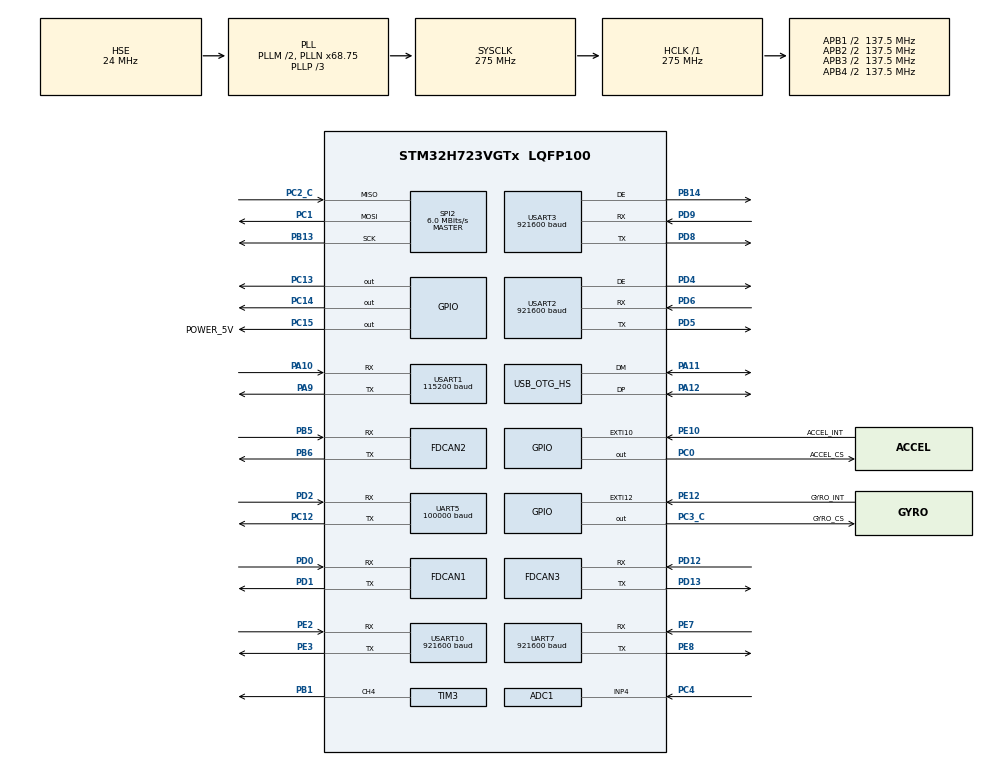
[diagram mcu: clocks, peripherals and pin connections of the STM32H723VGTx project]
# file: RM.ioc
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ADC1.Channel-2\#ChannelRegularConversion=ADC_CHANNEL_4
ADC1.Channel-3\#ChannelRegularConversion=ADC_CHANNEL_4
ADC1.ClockPrescaler=ADC_CLOCK_ASYNC_DIV64
ADC1.ClockPrescalerADC3=ADC_CLOCK_SYNC_PCLK_DIV4
ADC1.ContinuousConvMode=ENABLE
ADC1.ConversionDataManagement=ADC_CONVERSIONDATA_DMA_CIRCULAR
ADC1.NbrOfConversion=2
ADC1.NbrOfConversionFlag=1
ADC1.OffsetNumber-2\#ChannelRegularConversion=ADC_OFFSET_NONE
ADC1.OffsetNumber-3\#ChannelRegularConversion=ADC_OFFSET_NONE
ADC1.OffsetSignedSaturation-2\#ChannelRegularConversion=DISABLE
ADC1.OffsetSignedSaturation-3\#ChannelRegularConversion=DISABLE
ADC1.Rank-2\#ChannelRegularConversion=1
ADC1.Rank-3\#ChannelRegularConversion=2
ADC1.SamplingTime-2\#ChannelRegularConversion=ADC_SAMPLETIME_32CYCLES_5
ADC1.SamplingTime-3\#ChannelRegularConversion=ADC_SAMPLETIME_1CYCLE_5
ADC1.master=1
ADC3.Channel-0\#ChannelRegularConversion=ADC_CHANNEL_TEMPSENSOR
ADC3.ClockPrescalerADC3=ADC_CLOCK_SYNC_PCLK_DIV4
ADC3.DiscontinuousConvMode=ENABLE
ADC3.NbrOfConversionFlag=1
ADC3.OffsetNumber-0\#ChannelRegularConversion=ADC_OFFSET_NONE
ADC3.OffsetSign-0\#ChannelRegularConversion=ADC3_OFFSET_SIGN_NEGATIVE
ADC3.Rank-0\#ChannelRegularConversion=1
ADC3.SamplingTime-0\#ChannelRegularConversion=ADC3_SAMPLETIME_2CYCLES_5
Bdma.ADC3.0.Direction=DMA_PERIPH_TO_MEMORY
Bdma.ADC3.0.EventEnable=DISABLE
Bdma.ADC3.0.Instance=BDMA_Channel0
Bdma.ADC3.0.MemDataAlignment=DMA_MDATAALIGN_HALFWORD
Bdma.ADC3.0.MemInc=DMA_MINC_ENABLE
Bdma.ADC3.0.Mode=DMA_CIRCULAR
Bdma.ADC3.0.PeriphDataAlignment=DMA_PDATAALIGN_HALFWORD
Bdma.ADC3.0.PeriphInc=DMA_PINC_DISABLE
Bdma.ADC3.0.Polarity=HAL_DMAMUX_REQ_GEN_RISING
Bdma.ADC3.0.Priority=DMA_PRIORITY_LOW
Bdma.ADC3.0.RequestNumber=1
Bdma.ADC3.0.SignalID=NONE
Bdma.ADC3.0.SyncEnable=DISABLE
Bdma.ADC3.0.SyncPolarity=HAL_DMAMUX_SYNC_NO_EVENT
Bdma.ADC3.0.SyncRequestNumber=1
Bdma.ADC3.0.SyncSignalID=NONE
Bdma.Request0=ADC3
Bdma.RequestsNb=1
CORTEX_M7.AccessPermission-Cortex_Memory_Protection_Unit_Region0_Settings=MPU_REGION_FULL_ACCESS
CORTEX_M7.AccessPermission_Spec=MPU_REGION_FULL_ACCESS
CORTEX_M7.BaseAddress-Cortex_Memory_Protection_Unit_Region0_Settings=0x24000000
CORTEX_M7.BaseAddress_Spec=0x24000000
CORTEX_M7.CPU_DCache=Enabled
CORTEX_M7.CPU_ICache=Enabled
CORTEX_M7.DisableExec_Spec=MPU_INSTRUCTION_ACCESS_ENABLE
CORTEX_M7.Enable-Cortex_Memory_Protection_Unit_Region0_Settings=MPU_REGION_ENABLE
CORTEX_M7.IsBufferable_Spec=MPU_ACCESS_NOT_BUFFERABLE
CORTEX_M7.IsCacheable_Spec=MPU_ACCESS_NOT_CACHEABLE
CORTEX_M7.IsShareable_Spec=MPU_ACCESS_NOT_SHAREABLE
CORTEX_M7.MPU_Control=MPU_HFNMI_PRIVDEF
CORTEX_M7.Size-Cortex_Memory_Protection_Unit_Region0_Settings=MPU_REGION_SIZE_512KB
CORTEX_M7.Size_Spec=MPU_REGION_SIZE_512KB
CORTEX_M7.SubRegionDisable_Spec=0x0
CORTEX_M7.TypeExtField-Cortex_Memory_Protection_Unit_Region0_Settings=MPU_TEX_LEVEL1
CORTEX_M7.TypeExtField_Spec=MPU_TEX_LEVEL1
CORTEX_M7.default_mode_Activation=1
Dma.ADC1.14.Direction=DMA_PERIPH_TO_MEMORY
Dma.ADC1.14.EventEnable=DISABLE
Dma.ADC1.14.FIFOMode=DMA_FIFOMODE_DISABLE
Dma.ADC1.14.Instance=DMA2_Stream6
Dma.ADC1.14.MemDataAlignment=DMA_MDATAALIGN_HALFWORD
Dma.ADC1.14.MemInc=DMA_MINC_ENABLE
Dma.ADC1.14.Mode=DMA_CIRCULAR
Dma.ADC1.14.PeriphDataAlignment=DMA_PDATAALIGN_HALFWORD
Dma.ADC1.14.PeriphInc=DMA_PINC_DISABLE
Dma.ADC1.14.Polarity=HAL_DMAMUX_REQ_GEN_RISING
Dma.ADC1.14.Priority=DMA_PRIORITY_LOW
Dma.ADC1.14.RequestNumber=1
Dma.ADC1.14.SignalID=NONE
Dma.ADC1.14.SyncEnable=DISABLE
Dma.ADC1.14.SyncPolarity=HAL_DMAMUX_SYNC_NO_EVENT
Dma.ADC1.14.SyncRequestNumber=1
Dma.ADC1.14.SyncSignalID=NONE
Dma.MEMTOMEM.11.Direction=DMA_MEMORY_TO_MEMORY
Dma.MEMTOMEM.11.EventEnable=DISABLE
Dma.MEMTOMEM.11.FIFOMode=DMA_FIFOMODE_ENABLE
Dma.MEMTOMEM.11.FIFOThreshold=DMA_FIFO_THRESHOLD_FULL
Dma.MEMTOMEM.11.Instance=DMA1_Stream0
Dma.MEMTOMEM.11.MemBurst=DMA_MBURST_SINGLE
Dma.MEMTOMEM.11.MemDataAlignment=DMA_MDATAALIGN_BYTE
Dma.MEMTOMEM.11.MemInc=DMA_MINC_ENABLE
Dma.MEMTOMEM.11.Mode=DMA_NORMAL
Dma.MEMTOMEM.11.PeriphBurst=DMA_PBURST_SINGLE
Dma.MEMTOMEM.11.PeriphDataAlignment=DMA_PDATAALIGN_BYTE
Dma.MEMTOMEM.11.PeriphInc=DMA_PINC_ENABLE
Dma.MEMTOMEM.11.Polarity=HAL_DMAMUX_REQ_GEN_RISING
Dma.MEMTOMEM.11.Priority=DMA_PRIORITY_LOW
Dma.MEMTOMEM.11.RequestNumber=1
Dma.MEMTOMEM.11.SignalID=NONE
Dma.MEMTOMEM.11.SyncEnable=DISABLE
Dma.MEMTOMEM.11.SyncPolarity=HAL_DMAMUX_SYNC_NO_EVENT
Dma.MEMTOMEM.11.SyncRequestNumber=1
Dma.MEMTOMEM.11.SyncSignalID=NONE
Dma.Request0=UART5_RX
Dma.Request1=SPI2_RX
Dma.Request10=USART3_TX
Dma.Request11=MEMTOMEM
Dma.Request12=USART10_RX
Dma.Request13=USART10_TX
Dma.Request14=ADC1
Dma.Request2=SPI2_TX
Dma.Request3=UART7_RX
Dma.Request4=UART7_TX
Dma.Request5=USART1_RX
Dma.Request6=USART1_TX
Dma.Request7=USART2_RX
Dma.Request8=USART2_TX
Dma.Request9=USART3_RX
Dma.SPI2_RX.1.Direction=DMA_PERIPH_TO_MEMORY
Dma.SPI2_RX.1.EventEnable=DISABLE
Dma.SPI2_RX.1.FIFOMode=DMA_FIFOMODE_DISABLE
Dma.SPI2_RX.1.Instance=DMA1_Stream1
Dma.SPI2_RX.1.MemDataAlignment=DMA_MDATAALIGN_BYTE
Dma.SPI2_RX.1.MemInc=DMA_MINC_ENABLE
Dma.SPI2_RX.1.Mode=DMA_NORMAL
Dma.SPI2_RX.1.PeriphDataAlignment=DMA_PDATAALIGN_BYTE
Dma.SPI2_RX.1.PeriphInc=DMA_PINC_DISABLE
Dma.SPI2_RX.1.Polarity=HAL_DMAMUX_REQ_GEN_RISING
Dma.SPI2_RX.1.Priority=DMA_PRIORITY_VERY_HIGH
Dma.SPI2_RX.1.RequestNumber=1
Dma.SPI2_RX.1.SignalID=NONE
Dma.SPI2_RX.1.SyncEnable=DISABLE
Dma.SPI2_RX.1.SyncPolarity=HAL_DMAMUX_SYNC_NO_EVENT
Dma.SPI2_RX.1.SyncRequestNumber=1
Dma.SPI2_RX.1.SyncSignalID=NONE
Dma.SPI2_TX.2.Direction=DMA_MEMORY_TO_PERIPH
Dma.SPI2_TX.2.EventEnable=DISABLE
Dma.SPI2_TX.2.FIFOMode=DMA_FIFOMODE_DISABLE
Dma.SPI2_TX.2.Instance=DMA1_Stream2
Dma.SPI2_TX.2.MemDataAlignment=DMA_MDATAALIGN_BYTE
Dma.SPI2_TX.2.MemInc=DMA_MINC_ENABLE
Dma.SPI2_TX.2.Mode=DMA_NORMAL
Dma.SPI2_TX.2.PeriphDataAlignment=DMA_PDATAALIGN_BYTE
Dma.SPI2_TX.2.PeriphInc=DMA_PINC_DISABLE
Dma.SPI2_TX.2.Polarity=HAL_DMAMUX_REQ_GEN_RISING
Dma.SPI2_TX.2.Priority=DMA_PRIORITY_MEDIUM
Dma.SPI2_TX.2.RequestNumber=1
Dma.SPI2_TX.2.SignalID=NONE
Dma.SPI2_TX.2.SyncEnable=DISABLE
Dma.SPI2_TX.2.SyncPolarity=HAL_DMAMUX_SYNC_NO_EVENT
Dma.SPI2_TX.2.SyncRequestNumber=1
Dma.SPI2_TX.2.SyncSignalID=NONE
Dma.UART5_RX.0.Direction=DMA_PERIPH_TO_MEMORY
Dma.UART5_RX.0.EventEnable=DISABLE
Dma.UART5_RX.0.FIFOMode=DMA_FIFOMODE_DISABLE
Dma.UART5_RX.0.Instance=DMA2_Stream3
Dma.UART5_RX.0.MemDataAlignment=DMA_MDATAALIGN_BYTE
Dma.UART5_RX.0.MemInc=DMA_MINC_ENABLE
Dma.UART5_RX.0.Mode=DMA_CIRCULAR
Dma.UART5_RX.0.PeriphDataAlignment=DMA_PDATAALIGN_BYTE
Dma.UART5_RX.0.PeriphInc=DMA_PINC_DISABLE
Dma.UART5_RX.0.Polarity=HAL_DMAMUX_REQ_GEN_RISING
Dma.UART5_RX.0.Priority=DMA_PRIORITY_VERY_HIGH
Dma.UART5_RX.0.RequestNumber=1
Dma.UART5_RX.0.SignalID=NONE
Dma.UART5_RX.0.SyncEnable=DISABLE
Dma.UART5_RX.0.SyncPolarity=HAL_DMAMUX_SYNC_NO_EVENT
Dma.UART5_RX.0.SyncRequestNumber=1
Dma.UART5_RX.0.SyncSignalID=NONE
Dma.UART7_RX.3.Direction=DMA_PERIPH_TO_MEMORY
Dma.UART7_RX.3.EventEnable=DISABLE
Dma.UART7_RX.3.FIFOMode=DMA_FIFOMODE_DISABLE
Dma.UART7_RX.3.Instance=DMA1_Stream3
Dma.UART7_RX.3.MemDataAlignment=DMA_MDATAALIGN_BYTE
Dma.UART7_RX.3.MemInc=DMA_MINC_ENABLE
Dma.UART7_RX.3.Mode=DMA_CIRCULAR
Dma.UART7_RX.3.PeriphDataAlignment=DMA_PDATAALIGN_BYTE
Dma.UART7_RX.3.PeriphInc=DMA_PINC_DISABLE
Dma.UART7_RX.3.Polarity=HAL_DMAMUX_REQ_GEN_RISING
Dma.UART7_RX.3.Priority=DMA_PRIORITY_LOW
Dma.UART7_RX.3.RequestNumber=1
Dma.UART7_RX.3.SignalID=NONE
Dma.UART7_RX.3.SyncEnable=DISABLE
Dma.UART7_RX.3.SyncPolarity=HAL_DMAMUX_SYNC_NO_EVENT
Dma.UART7_RX.3.SyncRequestNumber=1
Dma.UART7_RX.3.SyncSignalID=NONE
Dma.UART7_TX.4.Direction=DMA_MEMORY_TO_PERIPH
Dma.UART7_TX.4.EventEnable=DISABLE
Dma.UART7_TX.4.FIFOMode=DMA_FIFOMODE_DISABLE
Dma.UART7_TX.4.Instance=DMA1_Stream4
Dma.UART7_TX.4.MemDataAlignment=DMA_MDATAALIGN_BYTE
Dma.UART7_TX.4.MemInc=DMA_MINC_ENABLE
Dma.UART7_TX.4.Mode=DMA_NORMAL
Dma.UART7_TX.4.PeriphDataAlignment=DMA_PDATAALIGN_BYTE
Dma.UART7_TX.4.PeriphInc=DMA_PINC_DISABLE
Dma.UART7_TX.4.Polarity=HAL_DMAMUX_REQ_GEN_RISING
Dma.UART7_TX.4.Priority=DMA_PRIORITY_LOW
Dma.UART7_TX.4.RequestNumber=1
Dma.UART7_TX.4.SignalID=NONE
Dma.UART7_TX.4.SyncEnable=DISABLE
Dma.UART7_TX.4.SyncPolarity=HAL_DMAMUX_SYNC_NO_EVENT
Dma.UART7_TX.4.SyncRequestNumber=1
Dma.UART7_TX.4.SyncSignalID=NONE
Dma.USART10_RX.12.Direction=DMA_PERIPH_TO_MEMORY
Dma.USART10_RX.12.EventEnable=DISABLE
Dma.USART10_RX.12.FIFOMode=DMA_FIFOMODE_DISABLE
Dma.USART10_RX.12.Instance=DMA2_Stream4
Dma.USART10_RX.12.MemDataAlignment=DMA_MDATAALIGN_BYTE
Dma.USART10_RX.12.MemInc=DMA_MINC_ENABLE
Dma.USART10_RX.12.Mode=DMA_CIRCULAR
Dma.USART10_RX.12.PeriphDataAlignment=DMA_PDATAALIGN_BYTE
Dma.USART10_RX.12.PeriphInc=DMA_PINC_DISABLE
Dma.USART10_RX.12.Polarity=HAL_DMAMUX_REQ_GEN_RISING
Dma.USART10_RX.12.Priority=DMA_PRIORITY_VERY_HIGH
Dma.USART10_RX.12.RequestNumber=1
Dma.USART10_RX.12.SignalID=NONE
Dma.USART10_RX.12.SyncEnable=DISABLE
Dma.USART10_RX.12.SyncPolarity=HAL_DMAMUX_SYNC_NO_EVENT
Dma.USART10_RX.12.SyncRequestNumber=1
Dma.USART10_RX.12.SyncSignalID=NONE
Dma.USART10_TX.13.Direction=DMA_MEMORY_TO_PERIPH
Dma.USART10_TX.13.EventEnable=DISABLE
Dma.USART10_TX.13.FIFOMode=DMA_FIFOMODE_DISABLE
Dma.USART10_TX.13.Instance=DMA2_Stream5
Dma.USART10_TX.13.MemDataAlignment=DMA_MDATAALIGN_BYTE
Dma.USART10_TX.13.MemInc=DMA_MINC_ENABLE
Dma.USART10_TX.13.Mode=DMA_NORMAL
Dma.USART10_TX.13.PeriphDataAlignment=DMA_PDATAALIGN_BYTE
Dma.USART10_TX.13.PeriphInc=DMA_PINC_DISABLE
Dma.USART10_TX.13.Polarity=HAL_DMAMUX_REQ_GEN_RISING
Dma.USART10_TX.13.Priority=DMA_PRIORITY_VERY_HIGH
Dma.USART10_TX.13.RequestNumber=1
Dma.USART10_TX.13.SignalID=NONE
Dma.USART10_TX.13.SyncEnable=DISABLE
Dma.USART10_TX.13.SyncPolarity=HAL_DMAMUX_SYNC_NO_EVENT
Dma.USART10_TX.13.SyncRequestNumber=1
Dma.USART10_TX.13.SyncSignalID=NONE
Dma.USART1_RX.5.Direction=DMA_PERIPH_TO_MEMORY
Dma.USART1_RX.5.EventEnable=DISABLE
Dma.USART1_RX.5.FIFOMode=DMA_FIFOMODE_DISABLE
Dma.USART1_RX.5.Instance=DMA1_Stream5
Dma.USART1_RX.5.MemDataAlignment=DMA_MDATAALIGN_BYTE
Dma.USART1_RX.5.MemInc=DMA_MINC_ENABLE
Dma.USART1_RX.5.Mode=DMA_NORMAL
Dma.USART1_RX.5.PeriphDataAlignment=DMA_PDATAALIGN_BYTE
Dma.USART1_RX.5.PeriphInc=DMA_PINC_DISABLE
Dma.USART1_RX.5.Polarity=HAL_DMAMUX_REQ_GEN_RISING
Dma.USART1_RX.5.Priority=DMA_PRIORITY_VERY_HIGH
Dma.USART1_RX.5.RequestNumber=1
Dma.USART1_RX.5.SignalID=NONE
Dma.USART1_RX.5.SyncEnable=DISABLE
Dma.USART1_RX.5.SyncPolarity=HAL_DMAMUX_SYNC_NO_EVENT
Dma.USART1_RX.5.SyncRequestNumber=1
Dma.USART1_RX.5.SyncSignalID=NONE
Dma.USART1_TX.6.Direction=DMA_MEMORY_TO_PERIPH
Dma.USART1_TX.6.EventEnable=DISABLE
Dma.USART1_TX.6.FIFOMode=DMA_FIFOMODE_DISABLE
Dma.USART1_TX.6.Instance=DMA1_Stream6
Dma.USART1_TX.6.MemDataAlignment=DMA_MDATAALIGN_BYTE
Dma.USART1_TX.6.MemInc=DMA_MINC_ENABLE
Dma.USART1_TX.6.Mode=DMA_NORMAL
Dma.USART1_TX.6.PeriphDataAlignment=DMA_PDATAALIGN_BYTE
Dma.USART1_TX.6.PeriphInc=DMA_PINC_DISABLE
Dma.USART1_TX.6.Polarity=HAL_DMAMUX_REQ_GEN_RISING
Dma.USART1_TX.6.Priority=DMA_PRIORITY_VERY_HIGH
Dma.USART1_TX.6.RequestNumber=1
Dma.USART1_TX.6.SignalID=NONE
Dma.USART1_TX.6.SyncEnable=DISABLE
Dma.USART1_TX.6.SyncPolarity=HAL_DMAMUX_SYNC_NO_EVENT
Dma.USART1_TX.6.SyncRequestNumber=1
Dma.USART1_TX.6.SyncSignalID=NONE
Dma.USART2_RX.7.Direction=DMA_PERIPH_TO_MEMORY
Dma.USART2_RX.7.EventEnable=DISABLE
Dma.USART2_RX.7.FIFOMode=DMA_FIFOMODE_DISABLE
Dma.USART2_RX.7.Instance=DMA1_Stream7
Dma.USART2_RX.7.MemDataAlignment=DMA_MDATAALIGN_BYTE
Dma.USART2_RX.7.MemInc=DMA_MINC_ENABLE
Dma.USART2_RX.7.Mode=DMA_CIRCULAR
Dma.USART2_RX.7.PeriphDataAlignment=DMA_PDATAALIGN_BYTE
Dma.USART2_RX.7.PeriphInc=DMA_PINC_DISABLE
Dma.USART2_RX.7.Polarity=HAL_DMAMUX_REQ_GEN_RISING
Dma.USART2_RX.7.Priority=DMA_PRIORITY_MEDIUM
Dma.USART2_RX.7.RequestNumber=1
Dma.USART2_RX.7.SignalID=NONE
Dma.USART2_RX.7.SyncEnable=DISABLE
Dma.USART2_RX.7.SyncPolarity=HAL_DMAMUX_SYNC_NO_EVENT
Dma.USART2_RX.7.SyncRequestNumber=1
Dma.USART2_RX.7.SyncSignalID=NONE
Dma.USART2_TX.8.Direction=DMA_MEMORY_TO_PERIPH
Dma.USART2_TX.8.EventEnable=DISABLE
Dma.USART2_TX.8.FIFOMode=DMA_FIFOMODE_DISABLE
Dma.USART2_TX.8.Instance=DMA2_Stream0
Dma.USART2_TX.8.MemDataAlignment=DMA_MDATAALIGN_BYTE
Dma.USART2_TX.8.MemInc=DMA_MINC_ENABLE
Dma.USART2_TX.8.Mode=DMA_NORMAL
Dma.USART2_TX.8.PeriphDataAlignment=DMA_PDATAALIGN_BYTE
Dma.USART2_TX.8.PeriphInc=DMA_PINC_DISABLE
Dma.USART2_TX.8.Polarity=HAL_DMAMUX_REQ_GEN_RISING
Dma.USART2_TX.8.Priority=DMA_PRIORITY_MEDIUM
Dma.USART2_TX.8.RequestNumber=1
Dma.USART2_TX.8.SignalID=NONE
Dma.USART2_TX.8.SyncEnable=DISABLE
Dma.USART2_TX.8.SyncPolarity=HAL_DMAMUX_SYNC_NO_EVENT
Dma.USART2_TX.8.SyncRequestNumber=1
Dma.USART2_TX.8.SyncSignalID=NONE
Dma.USART3_RX.9.Direction=DMA_PERIPH_TO_MEMORY
Dma.USART3_RX.9.EventEnable=DISABLE
Dma.USART3_RX.9.FIFOMode=DMA_FIFOMODE_DISABLE
Dma.USART3_RX.9.Instance=DMA2_Stream1
Dma.USART3_RX.9.MemDataAlignment=DMA_MDATAALIGN_BYTE
Dma.USART3_RX.9.MemInc=DMA_MINC_ENABLE
Dma.USART3_RX.9.Mode=DMA_CIRCULAR
Dma.USART3_RX.9.PeriphDataAlignment=DMA_PDATAALIGN_BYTE
Dma.USART3_RX.9.PeriphInc=DMA_PINC_DISABLE
Dma.USART3_RX.9.Polarity=HAL_DMAMUX_REQ_GEN_RISING
Dma.USART3_RX.9.Priority=DMA_PRIORITY_MEDIUM
Dma.USART3_RX.9.RequestNumber=1
Dma.USART3_RX.9.SignalID=NONE
Dma.USART3_RX.9.SyncEnable=DISABLE
Dma.USART3_RX.9.SyncPolarity=HAL_DMAMUX_SYNC_NO_EVENT
Dma.USART3_RX.9.SyncRequestNumber=1
Dma.USART3_RX.9.SyncSignalID=NONE
Dma.USART3_TX.10.Direction=DMA_MEMORY_TO_PERIPH
Dma.USART3_TX.10.EventEnable=DISABLE
Dma.USART3_TX.10.FIFOMode=DMA_FIFOMODE_DISABLE
Dma.USART3_TX.10.Instance=DMA2_Stream2
Dma.USART3_TX.10.MemDataAlignment=DMA_MDATAALIGN_BYTE
Dma.USART3_TX.10.MemInc=DMA_MINC_ENABLE
Dma.USART3_TX.10.Mode=DMA_NORMAL
Dma.USART3_TX.10.PeriphDataAlignment=DMA_PDATAALIGN_BYTE
Dma.USART3_TX.10.PeriphInc=DMA_PINC_DISABLE
Dma.USART3_TX.10.Polarity=HAL_DMAMUX_REQ_GEN_RISING
Dma.USART3_TX.10.Priority=DMA_PRIORITY_MEDIUM
Dma.USART3_TX.10.RequestNumber=1
Dma.USART3_TX.10.SignalID=NONE
Dma.USART3_TX.10.SyncEnable=DISABLE
Dma.USART3_TX.10.SyncPolarity=HAL_DMAMUX_SYNC_NO_EVENT
Dma.USART3_TX.10.SyncRequestNumber=1
Dma.USART3_TX.10.SyncSignalID=NONE
FDCAN1.AutoRetransmission=DISABLE
FDCAN1.CalculateBaudRateNominal=1000000
FDCAN1.CalculateTimeBitNominal=1000
FDCAN1.CalculateTimeQuantumNominal=62.5
FDCAN1.ClockCalibrationCCU=DISABLE
FDCAN1.DataPrescaler=1
FDCAN1.DataSyncJumpWidth=1
FDCAN1.DataTimeSeg1=19
FDCAN1.DataTimeSeg2=4
FDCAN1.ExtFiltersNbr=0
FDCAN1.FrameFormat=FDCAN_FRAME_CLASSIC
FDCAN1.NominalPrescaler=6
FDCAN1.NominalSyncJumpWidth=1
FDCAN1.NominalTimeSeg1=11
FDCAN1.NominalTimeSeg2=4
FDCAN1.ProtocolException=ENABLE
FDCAN1.RxBufferSize=FDCAN_DATA_BYTES_8
FDCAN1.RxFifo0ElmtSize=FDCAN_DATA_BYTES_8
FDCAN1.RxFifo0ElmtsNbr=8
FDCAN1.RxFifo1ElmtSize=FDCAN_DATA_BYTES_8
FDCAN1.StdFiltersNbr=1
FDCAN1.TransmitPause=DISABLE
FDCAN1.TxElmtSize=FDCAN_DATA_BYTES_8
FDCAN1.TxFifoQueueElmtsNbr=8
FDCAN1.TxFifoQueueMode=FDCAN_TX_FIFO_OPERATION
FDCAN2.CalculateBaudRateNominal=1000000
FDCAN2.CalculateTimeBitNominal=1000
FDCAN2.CalculateTimeQuantumNominal=62.5
FDCAN2.DataPrescaler=1
FDCAN2.DataSyncJumpWidth=1
FDCAN2.DataTimeSeg1=19
FDCAN2.DataTimeSeg2=4
FDCAN2.FrameFormat=FDCAN_FRAME_FD_BRS
FDCAN2.MessageRAMOffset=853
FDCAN2.NominalPrescaler=6
FDCAN2.NominalSyncJumpWidth=1
FDCAN2.NominalTimeSeg1=11
FDCAN2.NominalTimeSeg2=4
FDCAN2.ProtocolException=ENABLE
FDCAN2.RxFifo0ElmtsNbr=0
FDCAN2.RxFifo1ElmtsNbr=8
FDCAN2.StdFiltersNbr=1
FDCAN2.TxFifoQueueElmtsNbr=8
FDCAN3.CalculateBaudRateNominal=1000000
FDCAN3.CalculateTimeBitNominal=1000
FDCAN3.CalculateTimeQuantumNominal=62.5
FDCAN3.DataPrescaler=1
FDCAN3.DataSyncJumpWidth=1
FDCAN3.DataTimeSeg1=19
FDCAN3.DataTimeSeg2=4
FDCAN3.FrameFormat=FDCAN_FRAME_CLASSIC
FDCAN3.MessageRAMOffset=1706
FDCAN3.NominalPrescaler=6
FDCAN3.NominalSyncJumpWidth=1
FDCAN3.NominalTimeSeg1=11
FDCAN3.NominalTimeSeg2=4
FDCAN3.ProtocolException=ENABLE
FDCAN3.RxFifo0ElmtsNbr=8
FDCAN3.StdFiltersNbr=1
FDCAN3.TxFifoQueueElmtsNbr=8
FREERTOS.Tasks01=defaultTask,24,128,StartDefaultTask,Default,NULL,Dynamic,NULL,NULL
FREERTOS.configCHECK_FOR_STACK_OVERFLOW=2
FREERTOS.configENABLE_FPU=1
FREERTOS.configMAX_TASK_NAME_LEN=32
FREERTOS.configTOTAL_HEAP_SIZE=32768
FREERTOS.configUSE_MALLOC_FAILED_HOOK=1
Mcu.Family=STM32H7
Mcu.Name=STM32H723VGTx
Mcu.Package=LQFP100
NVIC.BDMA_Channel0_IRQn=true\:5\:0\:false\:false\:true\:true\:true\:false\:true
NVIC.DMA1_Stream0_IRQn=true\:5\:0\:false\:false\:true\:true\:true\:false\:true
NVIC.DMA1_Stream1_IRQn=true\:5\:0\:false\:false\:true\:true\:true\:false\:true
NVIC.DMA1_Stream2_IRQn=true\:5\:0\:false\:false\:true\:true\:true\:false\:true
NVIC.DMA1_Stream3_IRQn=true\:5\:0\:false\:false\:true\:true\:true\:false\:true
NVIC.DMA1_Stream4_IRQn=true\:5\:0\:false\:false\:true\:true\:true\:false\:true
NVIC.DMA1_Stream5_IRQn=true\:5\:0\:false\:false\:true\:true\:true\:false\:true
NVIC.DMA1_Stream6_IRQn=true\:5\:0\:false\:false\:true\:true\:true\:false\:true
NVIC.DMA1_Stream7_IRQn=true\:5\:0\:false\:false\:true\:true\:true\:false\:true
NVIC.DMA2_Stream0_IRQn=true\:5\:0\:false\:false\:true\:true\:true\:false\:true
NVIC.DMA2_Stream1_IRQn=true\:5\:0\:false\:false\:true\:true\:true\:false\:true
NVIC.DMA2_Stream2_IRQn=true\:5\:0\:false\:false\:true\:true\:true\:false\:true
NVIC.DMA2_Stream3_IRQn=true\:5\:0\:false\:false\:true\:true\:true\:false\:true
NVIC.DMA2_Stream4_IRQn=true\:5\:0\:false\:false\:true\:true\:true\:false\:true
NVIC.DMA2_Stream5_IRQn=true\:5\:0\:false\:false\:true\:true\:true\:false\:true
NVIC.DMA2_Stream6_IRQn=true\:5\:0\:false\:false\:true\:true\:true\:false\:true
NVIC.FDCAN1_IT0_IRQn=true\:5\:0\:false\:false\:true\:true\:true\:true\:true
NVIC.FDCAN1_IT1_IRQn=true\:5\:0\:false\:false\:true\:true\:true\:true\:true
NVIC.FDCAN2_IT0_IRQn=true\:5\:0\:false\:false\:true\:true\:true\:true\:true
NVIC.FDCAN2_IT1_IRQn=true\:5\:0\:false\:false\:true\:true\:true\:true\:true
NVIC.FDCAN3_IT0_IRQn=true\:5\:0\:false\:false\:true\:true\:true\:true\:true
NVIC.FDCAN3_IT1_IRQn=true\:5\:0\:false\:false\:true\:true\:true\:true\:true
NVIC.OTG_HS_IRQn=true\:5\:0\:false\:false\:true\:true\:true\:true\:true
NVIC.PriorityGroup=NVIC_PRIORITYGROUP_4
NVIC.SPI2_IRQn=true\:5\:0\:true\:false\:true\:true\:true\:false\:true
NVIC.TIM2_IRQn=true\:15\:0\:false\:false\:true\:false\:false\:false\:true
NVIC.TimeBase=TIM2_IRQn
NVIC.TimeBaseIP=TIM2
NVIC.UART5_IRQn=true\:5\:0\:false\:false\:true\:true\:true\:true\:true
NVIC.UART7_IRQn=true\:5\:0\:false\:false\:true\:true\:true\:true\:true
NVIC.USART10_IRQn=true\:5\:0\:false\:false\:true\:true\:true\:true\:true
NVIC.USART1_IRQn=true\:5\:0\:false\:false\:true\:true\:true\:true\:true
NVIC.USART2_IRQn=true\:5\:0\:false\:false\:true\:true\:true\:true\:true
NVIC.USART3_IRQn=true\:5\:0\:false\:false\:true\:true\:true\:true\:true
PA10.Mode=Asynchronous
PA10.Signal=USART1_RX
PA11.Mode=Device_Only_FS
PA11.Signal=USB_OTG_HS_DM
PA12.Mode=Device_Only_FS
PA12.Signal=USB_OTG_HS_DP
PA13(JTMS/SWDIO).Mode=Serial_Wire
PA13(JTMS/SWDIO).Signal=DEBUG_JTMS-SWDIO
PA14(JTCK/SWCLK).Mode=Serial_Wire
PA14(JTCK/SWCLK).Signal=DEBUG_JTCK-SWCLK
PA9.Mode=Asynchronous
PA9.Signal=USART1_TX
PB1.Signal=S_TIM3_CH4
PB13.GPIO_Speed=GPIO_SPEED_FREQ_VERY_HIGH
PB13.Mode=Full_Duplex_Master
PB13.Signal=SPI2_SCK
PB14.Mode=Hardware Flow Control (RS485)
PB14.Signal=USART3_DE
PB5.Mode=FDCAN_Activate
PB5.Signal=FDCAN2_RX
PB6.GPIO_FM6=__NULL
PB6.Mode=FDCAN_Activate
PB6.Signal=FDCAN2_TX
PC0.GPIO_Label=ACCEL_CS
PC0.GPIO_PuPd=GPIO_NOPULL
PC0.GPIO_Speed=GPIO_SPEED_FREQ_MEDIUM
PC0.PinState=GPIO_PIN_SET
PC0.Signal=GPIO_Output
PC1.GPIO_Speed=GPIO_SPEED_FREQ_VERY_HIGH
PC1.Mode=Full_Duplex_Master
PC1.Signal=SPI2_MOSI
PC12.Mode=Asynchronous
PC12.Signal=UART5_TX
PC13.PinState=GPIO_PIN_RESET
PC13.Signal=GPIO_Output
PC14-OSC32_IN.Signal=GPIO_Output
PC15-OSC32_OUT.GPIO_Label=POWER_5V
PC15-OSC32_OUT.PinState=GPIO_PIN_SET
PC15-OSC32_OUT.Signal=GPIO_Output
PC2_C.GPIO_Speed=GPIO_SPEED_FREQ_VERY_HIGH
PC2_C.Mode=Full_Duplex_Master
PC2_C.Signal=SPI2_MISO
PC3_C.GPIO_Label=GYRO_CS
PC3_C.GPIO_PuPd=GPIO_NOPULL
PC3_C.GPIO_Speed=GPIO_SPEED_FREQ_MEDIUM
PC3_C.PinState=GPIO_PIN_SET
PC3_C.Signal=GPIO_Output
PC4.Signal=ADCx_INP4
PD0.Mode=FDCAN_Activate
PD0.Signal=FDCAN1_RX
PD1.Mode=FDCAN_Activate
PD1.Signal=FDCAN1_TX
PD12.Mode=FDCAN_Activate
PD12.Signal=FDCAN3_RX
PD13.Mode=FDCAN_Activate
PD13.Signal=FDCAN3_TX
PD2.GPIO_Speed=GPIO_SPEED_FREQ_VERY_HIGH
PD2.Mode=Asynchronous
PD2.Signal=UART5_RX
PD4.Mode=Hardware Flow Control (RS485)
PD4.Signal=USART2_DE
PD5.Mode=Asynchronous
PD5.Signal=USART2_TX
PD6.Mode=Asynchronous
PD6.Signal=USART2_RX
PD8.Mode=Asynchronous
PD8.Signal=USART3_TX
PD9.Mode=Asynchronous
PD9.Signal=USART3_RX
PE10.GPIO_Label=ACCEL_INT
PE10.GPIO_PuPd=GPIO_NOPULL
PE10.Signal=GPXTI10
PE12.GPIO_Label=GYRO_INT
PE12.GPIO_PuPd=GPIO_NOPULL
PE12.Signal=GPXTI12
PE2.Mode=Asynchronous
PE2.Signal=USART10_RX
PE3.Mode=Asynchronous
PE3.Signal=USART10_TX
PE7.Mode=Asynchronous
PE7.Signal=UART7_RX
PE8.Mode=Asynchronous
PE8.Signal=UART7_TX
PH0-OSC_IN.Mode=HSE-External-Oscillator
PH0-OSC_IN.Signal=RCC_OSC_IN
PH1-OSC_OUT.Mode=HSE-External-Oscillator
PH1-OSC_OUT.Signal=RCC_OSC_OUT
ProjectManager.HeapSize=0x2000
ProjectManager.StackSize=0x4000
ProjectManager.TargetToolchain=CMake
RCC.ADCCLockSelection=RCC_ADCCLKSOURCE_CLKP
RCC.ADCFreq_Value=64000000
RCC.APB1Freq_Value=137500000
RCC.APB2Freq_Value=137500000
RCC.APB3Freq_Value=137500000
RCC.APB4Freq_Value=137500000
RCC.CortexFreq_Value=275000000
RCC.D1PPRE=RCC_APB3_DIV2
RCC.D2PPRE1=RCC_APB1_DIV2
RCC.D2PPRE2=RCC_APB2_DIV2
RCC.D3PPRE=RCC_APB4_DIV2
RCC.DIVM1=2
RCC.DIVM2=2
RCC.DIVM3=2
RCC.DIVN1=68
RCC.DIVN2=16
RCC.DIVN3=16
RCC.DIVP1=3
RCC.DIVP3=1
RCC.DIVQ1=4
RCC.EnbaleCSS=false
RCC.FDCANCLockSelection=RCC_FDCANCLKSOURCE_PLL2
RCC.FLatency-AdvancedSettings=FLASH_LATENCY_3
RCC.HCLKFreq_Value=275000000
RCC.HSE_VALUE=24000000
RCC.PLL1_VCI_Range-AdvancedSettings=RCC_PLL1VCIRANGE_0
RCC.PLL1_VCO_SEL-AdvancedSettings=RCC_PLL1VCOMEDIUM
RCC.PLL2FRACN=0
RCC.PLL2_VCO_SEL-AdvancedSettings=RCC_PLL2VCOWIDE
RCC.PLL3FRACN=0
RCC.PLL3_VCO_SEL-AdvancedSettings=RCC_PLL3VCOWIDE
RCC.PLLFRACN=6144
RCC.PLLSourceVirtual=RCC_PLLSOURCE_HSE
RCC.SPI123CLockSelection=RCC_SPI123CLKSOURCE_PLL3
RCC.SYSCLKFreq_VALUE=275000000
RCC.SYSCLKSource=RCC_SYSCLKSOURCE_PLLCLK
RCC.USART16CLockSelection=RCC_USART16910CLKSOURCE_PLL2
RCC.USBCLockSelection=RCC_USBCLKSOURCE_HSI48
RCC.USBFreq_Value=48000000
SH.ADCx_INP4.0=ADC1_INP4,IN4-Single-Ended
SH.S_TIM3_CH4.0=TIM3_CH4,PWM Generation4 CH4
SPI2.BaudRatePrescaler=SPI_BAUDRATEPRESCALER_32
SPI2.CLKPhase=SPI_PHASE_2EDGE
SPI2.CLKPolarity=SPI_POLARITY_HIGH
SPI2.CalculateBaudRate=6.0 MBits/s
SPI2.DataSize=SPI_DATASIZE_8BIT
SPI2.Direction=SPI_DIRECTION_2LINES
SPI2.Mode=SPI_MODE_MASTER
SPI2.NSSPMode=SPI_NSS_PULSE_DISABLE
SPI2.VirtualType=VM_MASTER
STMicroelectronics.X-CUBE-ALGOBUILD.1.4.0.LibraryCcDSPOoLibraryJjDSPOoLibrary=true
TIM3.AutoReloadPreload=TIM_AUTORELOAD_PRELOAD_ENABLE
TIM3.Channel-PWM\ Generation4\ CH4=TIM_CHANNEL_4
TIM3.Period=20000
TIM3.Prescaler=80-1
UART5.BaudRate=100000
UART5.Parity=PARITY_EVEN
UART5.StopBits=UART_STOPBITS_1
UART5.WordLength=WORDLENGTH_9B
UART7.BaudRate=921600
USART1.BaudRate=115200
USART1.VirtualMode-Asynchronous=VM_ASYNC
USART10.BaudRate=921600
USART10.VirtualMode=VM_ASYNC
USART2.BaudRate=921600
USART2.OverSampling=UART_OVERSAMPLING_8
USART2.VirtualMode-Asynchronous=VM_ASYNC
USART2.VirtualMode-Hardware\ Flow\ Control\ (RS485)=VM_ASYNC
USART3.BaudRate=921600
USART3.OverSampling=UART_OVERSAMPLING_8
USART3.VirtualMode-Asynchronous=VM_ASYNC
USART3.VirtualMode-Hardware\ Flow\ Control\ (RS485)=VM_ASYNC
USB_DEVICE.CLASS_NAME_HS=CDC
USB_DEVICE.VirtualMode=Cdc
USB_DEVICE.VirtualModeHS=Cdc_HS
USB_OTG_HS.VirtualMode-Device_Only_FS=Device_Only_FS
VP_ADC3_TempSens_Input.Mode=IN-TempSens
VP_ADC3_Vbat_Input.Mode=IN-Vbat
VP_ADC3_Vref_Input.Mode=IN-Vrefint
VP_FREERTOS_VS_CMSIS_V2.Mode=CMSIS_V2
VP_MEMORYMAP_VS_MEMORYMAP.Mode=CurAppReg
VP_STMicroelectronics.X-CUBE-ALGOBUILD_VS_DSPOoLibraryJjLibrary_1.4.0_1.4.0.Mode=DSPOoLibraryJjLibrary
VP_SYS_VS_tim2.Mode=TIM2
VP_USB_DEVICE_VS_USB_DEVICE_CDC_HS.Mode=CDC_HS
board=custom

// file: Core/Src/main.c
/* USER CODE BEGIN Header */
/**
  ******************************************************************************
  * @file           : main.c
  * @brief          : Main program body
  ******************************************************************************
  * @attention
  *
  * Copyright (c) 2026 STMicroelectronics.
  * All rights reserved.
  *
  * This software is licensed under terms that can be found in the LICENSE file
  * in the root directory of this software component.
  * If no LICENSE file comes with this software, it is provided AS-IS.
  *
  ******************************************************************************
  */
/* USER CODE END Header */
#include "main.h"
#include "FreeRTOS.h"
#include "cmsis_os2.h"
#include "adc.h"
#include "bdma.h"
#include "dma.h"
#include "fdcan.h"
#include "spi.h"
#include "tim.h"
#include "usart.h"
#include "usb_device.h"
#include "gpio.h"

/* USER CODE BEGIN Includes */
#include "cmsis_os2.h"
#include "robot.h"
#include "bsp_log.h"
#include "bsp_board.h"
#include "bsp_dwt.h"
#include "bsp_fault.h"
#if USE_MINIMAL_TEST
#include "minimal_test.h"
#endif
/* USER CODE END Includes */

void SystemClock_Config(void);
void PeriphCommonClock_Config(void);
static void MPU_Config(void);
void MX_FREERTOS_Init(void);

int main(void)
{

  /* MPU Configuration--------------------------------------------------------*/
  MPU_Config();

  /* Enable the CPU Cache */

  /* Enable I-Cache---------------------------------------------------------*/
  SCB_EnableICache();

  /* Enable D-Cache---------------------------------------------------------*/
  SCB_EnableDCache();

  /* MCU Configuration--------------------------------------------------------*/

  /* Reset of all peripherals, Initializes the Flash interface and the Systick. */
  HAL_Init();

  /* Configure the system clock */
  SystemClock_Config();

  /* Configure the peripherals common clocks */
  PeriphCommonClock_Config();

  /* USER CODE BEGIN SysInit */
  /* DWT 越早初始化越好: 从这里开始, 后面所有"不能依赖 HAL_GetTick 的延时"
   * (USB 的虚拟拔插、bsp 自检、故障转储里的等待) 才有可靠的计时源。
   * 注意 DWT 是 CPU 周期计数器, 关中断也照常计数, 因此在 __disable_irq()
   * 区域内也是安全的 —— 这正是本工程全部延时的统一时间源。 */
  DWT_Init((uint32_t)(SystemCoreClock / 1000000U));
  /* USER CODE END SysInit */

  /* Initialize all configured peripherals */
  MX_GPIO_Init();
  MX_DMA_Init();
  MX_BDMA_Init();
  MX_FDCAN1_Init();
  MX_FDCAN2_Init();
  MX_UART5_Init();
  MX_SPI2_Init();
  MX_TIM3_Init();
  MX_UART7_Init();
  MX_USART1_UART_Init();
  MX_USART2_UART_Init();
  MX_USART3_UART_Init();
  MX_USART10_UART_Init();
  MX_FDCAN3_Init();
  MX_ADC3_Init();
  MX_ADC1_Init();
  /* USER CODE BEGIN 2 */

#if USE_MINIMAL_TEST
  /* 最小自检固件: 只测 5V / 蜂鸣器 / 彩灯, 不启动 RTOS */
  MinimalTestInit();
#else
  /* CMSIS-RTOS v2: 必须先 osKernelInitialize(), 之后才能 osThreadNew 创建任务 */
  osKernelInitialize();
  /* 应用层初始化: bsp -> module(app 注册) -> 创建 rtos 任务
   * 注意: 此时还没有启动调度器, 任务不会运行 */
  RobotInit();
  LOGINFO("[main] SystemInit() and RobotInit() done");
#endif /* USE_MINIMAL_TEST */

  /* 注意: 这一句必须在 USER CODE 区内。
   * 本工程的 FreeRTOS 是手工接入的(.ioc 里 FREERTOS 是 Disable),
   * 如果放在生成区, 一旦用 CubeMX 重新生成代码它会被静默删掉,
   * 结果是调度器不启动 -> 任务一个都不跑, 但没有任何报错。 */
#if !USE_MINIMAL_TEST
  osKernelStart();
#endif /* !USE_MINIMAL_TEST */
  /* USER CODE END 2 */

  /* CubeMX 会在生成区插入 osKernelInitialize()/MX_FREERTOS_Init()/osKernelStart(),
   * 但本工程的调度器已在 USER CODE 2 里按正确顺序启动过(任务由 RobotInit() 创建),
   * 这里保持为空, 避免重复初始化。 */

  /* We should never get here as control is now taken by the scheduler */

  /* Infinite loop */
  /* USER CODE BEGIN WHILE */
  while (1)
  {
#if USE_MINIMAL_TEST
    MinimalTestLoop(); /* 最小自检: 灯循环换色 + 蜂鸣器定时响 */
#endif /* USE_MINIMAL_TEST */
    /* USER CODE END WHILE */

  }
}

void SystemClock_Config(void)
{
  RCC_OscInitTypeDef RCC_OscInitStruct = {0};
  RCC_ClkInitTypeDef RCC_ClkInitStruct = {0};

  /** Supply configuration update enable
  */
  HAL_PWREx_ConfigSupply(PWR_LDO_SUPPLY);

  /** Configure the main internal regulator output voltage
  */
  __HAL_PWR_VOLTAGESCALING_CONFIG(PWR_REGULATOR_VOLTAGE_SCALE0);

  while(!__HAL_PWR_GET_FLAG(PWR_FLAG_VOSRDY)) {}

  /** Initializes the RCC Oscillators according to the specified parameters
  * in the RCC_OscInitTypeDef structure.
  */
  RCC_OscInitStruct.OscillatorType = RCC_OSCILLATORTYPE_HSI48|RCC_OSCILLATORTYPE_HSI
                              |RCC_OSCILLATORTYPE_HSE;
  RCC_OscInitStruct.HSEState = RCC_HSE_ON;
  RCC_OscInitStruct.HSIState = RCC_HSI_DIV1;
  RCC_OscInitStruct.HSICalibrationValue = 64;
  RCC_OscInitStruct.HSI48State = RCC_HSI48_ON;
  RCC_OscInitStruct.PLL.PLLState = RCC_PLL_ON;
  RCC_OscInitStruct.PLL.PLLSource = RCC_PLLSOURCE_HSE;
  RCC_OscInitStruct.PLL.PLLM = 2;
  RCC_OscInitStruct.PLL.PLLN = 68;
  RCC_OscInitStruct.PLL.PLLP = 3;
  RCC_OscInitStruct.PLL.PLLQ = 4;
  RCC_OscInitStruct.PLL.PLLR = 2;
  RCC_OscInitStruct.PLL.PLLRGE = RCC_PLL1VCIRANGE_3;
  RCC_OscInitStruct.PLL.PLLVCOSEL = RCC_PLL1VCOWIDE;
  RCC_OscInitStruct.PLL.PLLFRACN = 6144;
  if (HAL_RCC_OscConfig(&RCC_OscInitStruct) != HAL_OK)
  {
    Error_Handler();
  }

  /** Initializes the CPU, AHB and APB buses clocks
  */
  RCC_ClkInitStruct.ClockType = RCC_CLOCKTYPE_HCLK|RCC_CLOCKTYPE_SYSCLK
                              |RCC_CLOCKTYPE_PCLK1|RCC_CLOCKTYPE_PCLK2
                              |RCC_CLOCKTYPE_D3PCLK1|RCC_CLOCKTYPE_D1PCLK1;
  RCC_ClkInitStruct.SYSCLKSource = RCC_SYSCLKSOURCE_PLLCLK;
  RCC_ClkInitStruct.SYSCLKDivider = RCC_SYSCLK_DIV1;
  RCC_ClkInitStruct.AHBCLKDivider = RCC_HCLK_DIV1;
  RCC_ClkInitStruct.APB3CLKDivider = RCC_APB3_DIV2;
  RCC_ClkInitStruct.APB1CLKDivider = RCC_APB1_DIV2;
  RCC_ClkInitStruct.APB2CLKDivider = RCC_APB2_DIV2;
  RCC_ClkInitStruct.APB4CLKDivider = RCC_APB4_DIV2;

  if (HAL_RCC_ClockConfig(&RCC_ClkInitStruct, FLASH_LATENCY_3) != HAL_OK)
  {
    Error_Handler();
  }
}

void PeriphCommonClock_Config(void)
{
  RCC_PeriphCLKInitTypeDef PeriphClkInitStruct = {0};

  /** Initializes the peripherals clock
  */
  PeriphClkInitStruct.PeriphClockSelection = RCC_PERIPHCLK_FDCAN|RCC_PERIPHCLK_USART1
                              |RCC_PERIPHCLK_USART10|RCC_PERIPHCLK_CKPER;
  PeriphClkInitStruct.PLL2.PLL2M = 2;
  PeriphClkInitStruct.PLL2.PLL2N = 16;
  PeriphClkInitStruct.PLL2.PLL2P = 2;
  PeriphClkInitStruct.PLL2.PLL2Q = 2;
  PeriphClkInitStruct.PLL2.PLL2R = 2;
  PeriphClkInitStruct.PLL2.PLL2RGE = RCC_PLL2VCIRANGE_3;
  PeriphClkInitStruct.PLL2.PLL2VCOSEL = RCC_PLL2VCOWIDE;
  PeriphClkInitStruct.PLL2.PLL2FRACN = 0;
  PeriphClkInitStruct.CkperClockSelection = RCC_CLKPSOURCE_HSI;
  PeriphClkInitStruct.FdcanClockSelection = RCC_FDCANCLKSOURCE_PLL2;
  PeriphClkInitStruct.Usart16ClockSelection = RCC_USART16910CLKSOURCE_PLL2;
  if (HAL_RCCEx_PeriphCLKConfig(&PeriphClkInitStruct) != HAL_OK)
  {
    Error_Handler();
  }
}

 /* MPU Configuration */

void MPU_Config(void)
{
  MPU_Region_InitTypeDef MPU_InitStruct = {0};

  /* Disables the MPU */
  HAL_MPU_Disable();

  /** Initializes and configures the Region and the memory to be protected
  */
  MPU_InitStruct.Enable = MPU_REGION_ENABLE;
  MPU_InitStruct.Number = MPU_REGION_NUMBER0;
  MPU_InitStruct.BaseAddress = 0x24000000;
  MPU_InitStruct.Size = MPU_REGION_SIZE_512KB;
  MPU_InitStruct.SubRegionDisable = 0x0;
  MPU_InitStruct.TypeExtField = MPU_TEX_LEVEL1;
  MPU_InitStruct.AccessPermission = MPU_REGION_FULL_ACCESS;
  MPU_InitStruct.DisableExec = MPU_INSTRUCTION_ACCESS_ENABLE;
  MPU_InitStruct.IsShareable = MPU_ACCESS_NOT_SHAREABLE;
  MPU_InitStruct.IsCacheable = MPU_ACCESS_NOT_CACHEABLE;
  MPU_InitStruct.IsBufferable = MPU_ACCESS_NOT_BUFFERABLE;

  HAL_MPU_ConfigRegion(&MPU_InitStruct);
  /* Enables the MPU */
  HAL_MPU_Enable(MPU_HFNMI_PRIVDEF);

}

void HAL_TIM_PeriodElapsedCallback(TIM_HandleTypeDef *htim)
{
  if (htim->Instance == TIM2)
  {
    HAL_IncTick();
  }
}

void Error_Handler(void)
{
  /* USER CODE BEGIN Error_Handler_Debug */
  /* 不再静默死循环: 把"哪一步初始化失败"打到串口上, 然后停机 */
  BSPFaultReport("Error_Handler", "HAL init failed (clock/peripheral), see boot log above");
  /* USER CODE END Error_Handler_Debug */
}

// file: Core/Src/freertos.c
/* USER CODE BEGIN Header */
/**
  ******************************************************************************
  * File Name          : freertos.c
  * Description        : Code for freertos applications
  ******************************************************************************
  * @attention
  *
  * Copyright (c) 2026 STMicroelectronics.
  * All rights reserved.
  *
  * This software is licensed under terms that can be found in the LICENSE file
  * in the root directory of this software component.
  * If no LICENSE file comes with this software, it is provided AS-IS.
  *
  ******************************************************************************
  */
/* USER CODE END Header */

#include "FreeRTOS.h"

extern void BSPFaultReport(const char *tag, const char *detail);
#include "task.h"
#include "main.h"
#include "FreeRTOS.h"
#include "cmsis_os2.h"

/* Definitions for defaultTask */
osThreadId_t defaultTaskHandle;
const osThreadAttr_t defaultTask_attributes = {
  .name = "defaultTask",
  .stack_size = 128 * 4,
  .priority = (osPriority_t) osPriorityNormal,
};

void StartDefaultTask(void *argument);

extern void MX_USB_DEVICE_Init(void);
void MX_FREERTOS_Init(void); /* (MISRA C 2004 rule 8.1) */

/* Hook prototypes */
void vApplicationStackOverflowHook(xTaskHandle xTask, char *pcTaskName);
void vApplicationMallocFailedHook(void);

/* USER CODE BEGIN 4 */
void vApplicationStackOverflowHook(xTaskHandle xTask, char *pcTaskName)
{
   (void)xTask;
   /* 栈溢出时先打印是哪个任务, 再停机, 便于定位 */
   BSPFaultReport("FreeRTOS stack overflow",
                  (pcTaskName != NULL) ? pcTaskName : "(unknown task)");
}
/* USER CODE END 4 */

/* USER CODE BEGIN 5 */
void vApplicationMallocFailedHook(void)
{
   BSPFaultReport("FreeRTOS malloc failed",
                  "configTOTAL_HEAP_SIZE exhausted (see FreeRTOSConfig.h)");
}
/* USER CODE END 5 */

void MX_FREERTOS_Init(void) {

  /* Create the thread(s) */
  /* creation of defaultTask */
  defaultTaskHandle = osThreadNew(StartDefaultTask, NULL, &defaultTask_attributes);

}

void StartDefaultTask(void *argument)
{
  /* init code for USB_DEVICE */
  MX_USB_DEVICE_Init();
  for(;;)
  {
    osDelay(1);
  }
}
